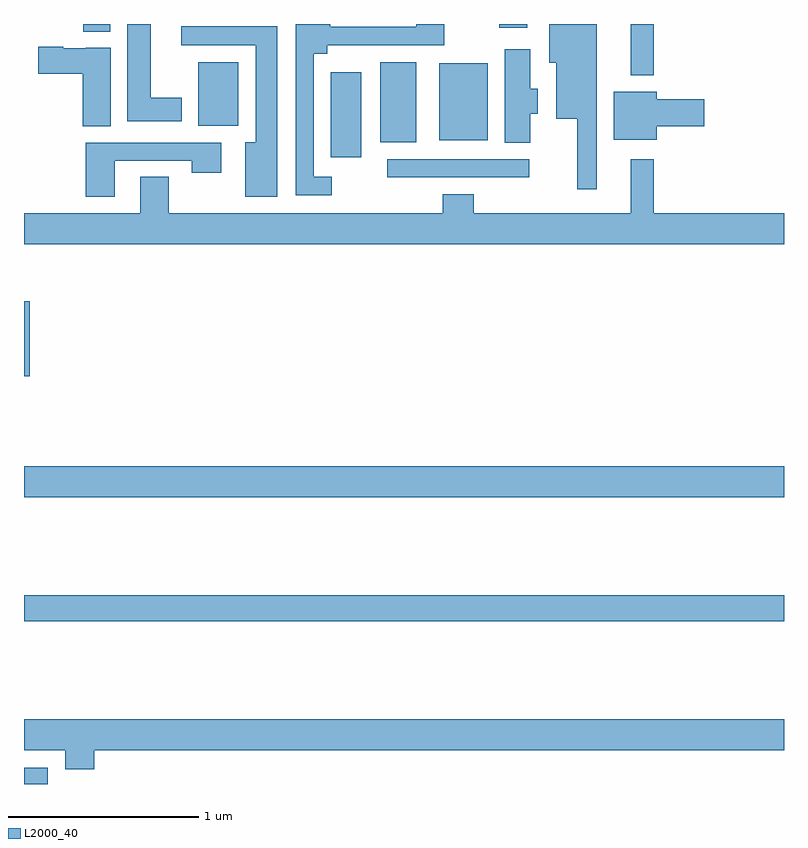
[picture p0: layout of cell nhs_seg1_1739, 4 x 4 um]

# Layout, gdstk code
import gdstk
lib = gdstk.Library(unit=1e-6, precision=1e-09)
def R(c, l, rs):  # rectangles x0, y0, x1, y1
    for r in rs: c.add(gdstk.rectangle(r[:2], r[2:], *l))
def P(c, l, *ps):  # polygons
    for p in ps: c.add(gdstk.Polygon(p, *l))
L2000_40 = (2000, 40)

nhs_seg1_1739 = lib.new_cell('nhs_seg1_1739')
R(nhs_seg1_1739, L2000_40, [(205,574.199,205.125,574.284), (205,575.056,209,575.192), (205,575.708,209,575.872), (205,576.345,205.031,576.739), (206.913,577.392,207.658,577.488), (206.615,577.497,206.776,577.945), (206.876,577.577,207.064,577.999), (207.185,577.586,207.442,577.993), (205.916,577.664,206.128,577.999), (208.193,577.928,208.315,578.199), (205.313,578.159,205.453,578.199), (207.502,578.178,207.649,578.199)])
P(nhs_seg1_1739, L2000_40, [(206.62,577.395),(206.526,577.395),(206.526,578.042),(206.596,578.042),(206.596,578.088),(207.213,578.088),(207.213,578.199),(207.065,578.199),(207.065,578.184),(206.611,578.184),(206.611,578.199),(206.43,578.199),(206.43,577.299),(206.62,577.299)],
  [(205.831,577.81),(205.666,577.81),(205.666,578.199),(205.544,578.199),(205.544,577.688),(205.831,577.688)],
  [(208.015,578.199),(207.764,578.199),(207.764,577.994),(207.8,577.994),(207.8,577.7),(207.911,577.7),(207.911,577.329),(208.015,577.329)],
  [(206.332,578.186),(205.827,578.186),(205.827,578.088),(206.219,578.088),(206.219,577.576),(206.165,577.576),(206.165,577.29),(206.332,577.29)],
  [(205.456,578.074),(205.326,578.074),(205.326,578.071),(205.206,578.071),(205.206,578.079),(205.074,578.079),(205.074,577.937),(205.31,577.937),(205.31,577.66),(205.456,577.66)],
  [(207.664,577.727),(207.703,577.727),(207.703,577.857),(207.664,577.857),(207.664,578.065),(207.53,578.065),(207.53,577.573),(207.664,577.573)],
  [(208.33,577.66),(208.579,577.66),(208.579,577.802),(208.33,577.802),(208.33,577.843),(208.103,577.843),(208.103,577.589),(208.33,577.589)],
  [(205.477,577.479),(205.882,577.479),(205.882,577.416),(206.038,577.416),(206.038,577.575),(205.325,577.575),(205.325,577.29),(205.477,577.29)],
  [(209,577.204),(208.315,577.204),(208.315,577.486),(208.193,577.486),(208.193,577.204),(207.368,577.204),(207.368,577.303),(207.203,577.303),(207.203,577.204),(205.761,577.204),(205.761,577.394),(205.613,577.394),(205.613,577.204),(205,577.204),(205,577.04),(209,577.04)],
  [(205.37,574.376),(209,574.376),(209,574.54),(205,574.54),(205,574.376),(205.217,574.376),(205.217,574.277),(205.37,574.277)])

lib.write_gds('nhs_seg1_1739.gds')
